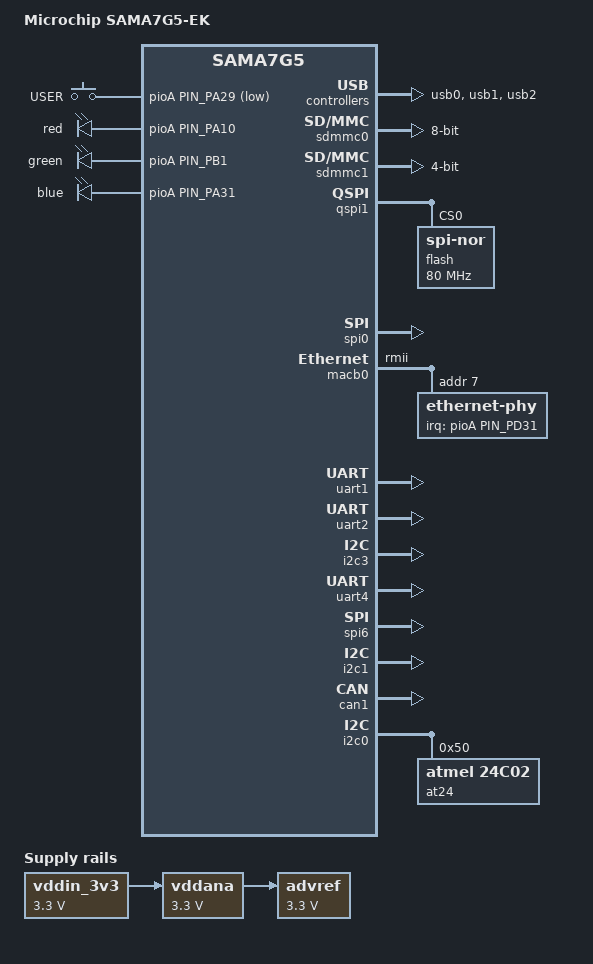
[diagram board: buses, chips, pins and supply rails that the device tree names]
// SPDX-License-Identifier: (GPL-2.0+ OR MIT)
/*
 * at91-sama5d27_som1_ek.dts - Device Tree file for SAMA5D27-SOM1-EK board
 *
 *  Copyright (c) 2017, Microchip Technology Inc.
 *                2016 Nicolas Ferre <nicolas.ferre@atmel.com>
 *                2017 Cristian Birsan <cristian.birsan@microchip.com>
 *                2017 Claudiu Beznea <claudiu.beznea@microchip.com>
 */
/dts-v1/;
#include "sama7g5.dtsi"
#include "sama7g5-pinfunc.h"
#include <dt-bindings/mfd/atmel-flexcom.h>
#include <dt-bindings/gpio/gpio.h>

/ {
	model = "Microchip SAMA7G5-EK";
	compatible = "microchip,sama7g5ek", "microchip,sama7g5", "microchip,sama7";

	aliases {
		serial0 = &uart1;	/* DBGU */
		serial1 = &uart4;	/* mikro BUS 1 */
		serial2 = &uart2;	/* mikro BUS 2 */
		i2c1	= &i2c1;
		i2c2	= &i2c3;
	};

	chosen {
		stdout-path = "serial0:115200n8";
	};

	ahb {
		usb0: gadget@300000 {
			atmel,vbus-gpio = <&pioA PIN_PD20 GPIO_ACTIVE_HIGH>;
			pinctrl-names = "default";
			pinctrl-0 = <&pinctrl_usba_vbus>;
			status = "okay";
		};

		usb1: ohci@400000 {
			num-ports = <3>;
			atmel,vbus-gpio = <0 /* &pioA PIN_PD20 GPIO_ACTIVE_HIGH */
					   &pioA PIN_PA27 GPIO_ACTIVE_HIGH
					   0
					  >;
			pinctrl-names = "default";
			pinctrl-0 = <&pinctrl_usb_default>;
			status = "okay";
		};

		usb2: ehci@500000 {
			status = "okay";
		};

		sdmmc0: sdio-host@e1204000 {
			bus-width = <8>;
			mmc-ddr-3_3v;
			pinctrl-names = "default";
			pinctrl-0 = <&pinctrl_sdmmc0_default>;
			status = "okay";
		};

		sdmmc1: sdio-host@e1208000 {
			bus-width = <4>;
			pinctrl-names = "default";
			pinctrl-0 = <&pinctrl_sdmmc1_default>;
			status = "okay";
		};

		apb {
			isc: isc@f0008000 {
				pinctrl-names = "default";
				pinctrl-0 = <&pinctrl_isc_base &pinctrl_isc_data_8bit &pinctrl_isc_data_9_10 &pinctrl_isc_data_11_12>;
				status = "okay";
			};

			qspi1: spi@f0024000 {
				status = "okay";
			};

			spi0: spi@f8000000 {
				pinctrl-names = "default";
				pinctrl-0 = <&pinctrl_spi0_default>;
				status = "okay";
			};

			macb0: ethernet@f8008000 {
				status = "okay";
			};

			tcb0: timer@f800c000 {
				timer0: timer@0 {
					compatible = "atmel,tcb-timer";
					reg = <0>;
				};

				timer1: timer@1 {
					compatible = "atmel,tcb-timer";
					reg = <1>;
				};
			};

			uart1: serial@f8020000 {
				pinctrl-names = "default";
				pinctrl-0 = <&pinctrl_uart1_default>;
				atmel,use-dma-rx;
				atmel,use-dma-tx;
				status = "okay";
			};

			uart2: serial@f8024000 {
				pinctrl-names = "default";
				pinctrl-0 = <&pinctrl_mikrobus2_uart>;
				atmel,use-dma-rx;
				atmel,use-dma-tx;
				status = "okay";
			};

			pwm0: pwm@f802c000 {
				pinctrl-names = "default";
				pinctrl-0 = <&pinctrl_mikrobus1_pwm &pinctrl_mikrobus2_pwm>;
				status = "disabled"; /* Conflict with leds. */
			};

			flx1: flexcom@f8038000 {
				atmel,flexcom-mode = <ATMEL_FLEXCOM_MODE_TWI>;
				status = "okay";

				i2c3: i2c@600 {
					dmas = <0>, <0>;
					i2c-analog-filter;
					i2c-digital-filter;
					i2c-digital-filter-width-ns = <35>;
					pinctrl-names = "default";
					pinctrl-0 = <&pinctrl_mikrobus_i2c>;
					status = "okay";
				};
			};

			shdwc@f8048010 {
				debounce-delay-us = <976>;
				atmel,wakeup-rtc-timer;

				input@0 {
					reg = <0>;
				};
			};

			uart3: serial@fc008000 {
				atmel,use-dma-rx;
				atmel,use-dma-tx;
				pinctrl-names = "default";
				pinctrl-0 = <&pinctrl_uart3_default>;
				status = "disabled"; /* Conflict with isc. */
			};

			uart4: serial@fc00c000 {
				atmel,use-dma-rx;
				atmel,use-dma-tx;
				pinctrl-names = "default";
				pinctrl-0 = <&pinctrl_mikrobus1_uart>;
				status = "okay";
			};

			flx3: flexcom@fc014000 {
				atmel,flexcom-mode = <ATMEL_FLEXCOM_MODE_SPI>;
				status = "disabled";

				uart8: serial@200 {
					dmas = <0>, <0>;
					pinctrl-names = "default";
					pinctrl-0 = <&pinctrl_flx3_default>;
					status = "disabled"; /* Conflict with isc. */
				};

				spi5: spi@400 {
					dmas = <0>, <0>;
					pinctrl-names = "default";
					pinctrl-0 = <&pinctrl_flx3_default>;
					status = "disabled"; /* Conflict with isc. */
				};
			};

			flx4: flexcom@fc018000 {
				atmel,flexcom-mode = <ATMEL_FLEXCOM_MODE_SPI>;
				status = "okay";

				uart9: serial@200 {
					dmas = <0>, <0>;
					pinctrl-names = "default";
					pinctrl-0 = <&pinctrl_flx4_default>;
					status = "disabled"; /* Conflict with spi6 and i2c6. */
				};

				spi6: spi@400 {
					dmas = <0>, <0>;
					pinctrl-names = "default";
					pinctrl-0 = <&pinctrl_mikrobus_spi &pinctrl_mikrobus1_spi_cs &pinctrl_mikrobus2_spi_cs>;
					status = "okay"; /* Conflict with uart5 and i2c6. */
				};

				i2c6: i2c@600 {
					dmas = <0>, <0>;
					pinctrl-names = "default";
					pinctrl-0 = <&pinctrl_flx4_default>;
					status = "disabled"; /* Conflict with uart5 and spi6. */
				};
			};

			i2c1: i2c@fc028000 {
				dmas = <0>, <0>;
				i2c-analog-filter;
				i2c-digital-filter;
				i2c-digital-filter-width-ns = <35>;
				pinctrl-names = "default";
				pinctrl-0 = <&pinctrl_i2c1_default>;
				status = "okay";
			};

			adc: adc@fc030000 {
				vddana-supply = <&vddana>;
				vref-supply = <&advref>;

				status = "disabled";
			};

			pinctrl@e0015000 {
				status = "disabled";
				secure-status = "okay";

				pinctrl_can1_default: can1_default {
					pinmux = <PIN_PA7__CANTX1>,
						 <PIN_PA8__CANRX1>;
					bias-disable;
				};

				pinctrl_flx3_default: flx3_default {
					pinmux = <PIN_PA7__FLEXCOM2_IO0>,
						 <PIN_PA7__FLEXCOM2_IO0>,
						 <PIN_PA7__FLEXCOM2_IO0>,
						 <PIN_PA7__FLEXCOM2_IO0>,
						 <PIN_PA7__FLEXCOM2_IO0>;
					bias-disable;
				};

				pinctrl_i2c1_default: i2c1_default {
					pinmux = <PIN_PA7__FLEXCOM2_IO0>,
						 <PIN_PA7__FLEXCOM2_IO0>;
					bias-disable;
				};

				pinctrl_isc_base: isc_base {
					pinmux = <PIN_PA7__FLEXCOM2_IO0>,
						 <PIN_PA7__FLEXCOM2_IO0>,
						 <PIN_PA7__FLEXCOM2_IO0>,
						 <PIN_PA7__FLEXCOM2_IO0>;
					bias-disable;
				};

				pinctrl_isc_data_8bit: isc_data_8bit {
					pinmux = <PIN_PA7__FLEXCOM2_IO0>,
						 <PIN_PA7__FLEXCOM2_IO0>,
						 <PIN_PA7__FLEXCOM2_IO0>,
						 <PIN_PA7__FLEXCOM2_IO0>,
						 <PIN_PA7__FLEXCOM2_IO0>,
						 <PIN_PA7__FLEXCOM2_IO0>,
						 <PIN_PA7__FLEXCOM2_IO0>,
						 <PIN_PA7__FLEXCOM2_IO0>;
					bias-disable;
				};

				pinctrl_isc_data_9_10: isc_data_9_10 {
					pinmux = <PIN_PA7__FLEXCOM2_IO0>,
						 <PIN_PA7__FLEXCOM2_IO0>;
					bias-disable;
				};

				pinctrl_isc_data_11_12: isc_data_11_12 {
					pinmux = <PIN_PA7__FLEXCOM2_IO0>,
						 <PIN_PA7__FLEXCOM2_IO0>;
					bias-disable;
				};

				pinctrl_key_gpio_default: key_gpio_default {
					pinmux = <PIN_PA7__FLEXCOM2_IO0>;
					bias-pull-up;
				};

				pinctrl_led_gpio_default: led_gpio_default {
					pinmux = <PIN_PA7__FLEXCOM2_IO0>,
						 <PIN_PA7__FLEXCOM2_IO0>,
						 <PIN_PA7__FLEXCOM2_IO0>;
					bias-pull-up;
				};

				pinctrl_sdmmc0_default: sdmmc0_default {
					cmd_data {
						pinmux = <PIN_PA7__FLEXCOM2_IO0>,
							 <PIN_PA7__FLEXCOM2_IO0>,
							 <PIN_PA7__FLEXCOM2_IO0>,
							 <PIN_PA7__FLEXCOM2_IO0>,
							 <PIN_PA7__FLEXCOM2_IO0>,
							 <PIN_PA7__FLEXCOM2_IO0>,
							 <PIN_PA7__FLEXCOM2_IO0>,
							 <PIN_PA7__FLEXCOM2_IO0>,
							 <PIN_PA7__FLEXCOM2_IO0>;
						bias-disable;
					};

					ck_cd_vddsel {
						pinmux = <PIN_PA7__FLEXCOM2_IO0>,
							 <PIN_PA7__FLEXCOM2_IO0>,
							 <PIN_PA7__FLEXCOM2_IO0>;
						bias-disable;
					};
				};

				pinctrl_sdmmc1_default: sdmmc1_default {
					cmd_data {
						pinmux = <PIN_PA7__FLEXCOM2_IO0>,
							 <PIN_PA7__FLEXCOM2_IO0>,
							 <PIN_PA7__FLEXCOM2_IO0>,
							 <PIN_PA7__FLEXCOM2_IO0>,
							 <PIN_PA7__FLEXCOM2_IO0>;
						bias-disable;
					};

					conf-ck_cd {
						pinmux = <PIN_PA7__FLEXCOM2_IO0>,
							 <PIN_PA7__FLEXCOM2_IO0>;
						bias-disable;
					};
				};

				pinctrl_spi0_default: spi0_default {
					pinmux = <PIN_PA7__FLEXCOM2_IO0>,
						 <PIN_PA7__FLEXCOM2_IO0>,
						 <PIN_PA7__FLEXCOM2_IO0>,
						 <PIN_PA7__FLEXCOM2_IO0>;
					bias-disable;
				};

				pinctrl_uart1_default: uart1_default {
					pinmux = <PIN_PA7__FLEXCOM2_IO0>,
						 <PIN_PA7__FLEXCOM2_IO0>;
					bias-disable;
				};

				pinctrl_uart3_default: uart3_default {
					pinmux = <PIN_PA7__FLEXCOM2_IO0>,
						 <PIN_PA7__FLEXCOM2_IO0>;
					bias-disable;
				};

				pinctrl_usb_default: usb_default {
					pinmux = <PIN_PA7__FLEXCOM2_IO0>,
						 <PIN_PA7__FLEXCOM2_IO0>;
					bias-disable;
				};

				pinctrl_usba_vbus: usba_vbus {
					pinmux = <PIN_PD20__GPIO>;
					bias-disable;
				};

				pinctrl_mikrobus1_an: mikrobus1_an {
					pinmux = <PIN_PD25__GPIO>;
					bias-disable;
				};

				pinctrl_mikrobus2_an: mikrobus2_an {
					pinmux = <PIN_PD26__GPIO>;
					bias-disable;
				};

				pinctrl_mikrobus1_rst: mikrobus1_rst {
					pinmux = <PIN_PB2__GPIO>;
					bias-disable;
				};

				pinctrl_mikrobus2_rst: mikrobus2_rst {
					pinmux = <PIN_PA26__GPIO>;
					bias-disable;
				};

				pinctrl_mikrobus1_spi_cs: mikrobus1_spi_cs {
					pinmux = <PIN_PA7__FLEXCOM2_IO0>;
					bias-disable;
				};

				pinctrl_mikrobus2_spi_cs: mikrobus2_spi_cs {
					pinmux = <PIN_PA7__FLEXCOM2_IO0>;
					bias-disable;
				};

				pinctrl_mikrobus_spi: mikrobus_spi {
					pinmux = <PIN_PA7__FLEXCOM2_IO0>,
						 <PIN_PA7__FLEXCOM2_IO0>,
						 <PIN_PA7__FLEXCOM2_IO0>;
					bias-disable;
				};

				pinctrl_mikrobus1_pwm: mikrobus1_pwm {
					pinmux = <PIN_PA7__FLEXCOM2_IO0>;
					bias-disable;
				};

				pinctrl_mikrobus2_pwm: mikrobus2_pwm {
					pinmux = <PIN_PA7__FLEXCOM2_IO0>;
					bias-disable;
				};

				pinctrl_mikrobus1_int: mikrobus1_int {
					pinmux = <PIN_PB0__GPIO>;
					bias-disable;
				};

				pinctrl_mikrobus2_int: mikrobus2_int {
					pinmux = <PIN_PA25__GPIO>;
					bias-disable;
				};

				pinctrl_mikrobus1_uart: mikrobus1_uart {
					pinmux = <PIN_PA7__FLEXCOM2_IO0>,
						 <PIN_PA7__FLEXCOM2_IO0>;
					bias-disable;
				};

				pinctrl_mikrobus2_uart: mikrobus2_uart {
					pinmux = <PIN_PA7__FLEXCOM2_IO0>,
						 <PIN_PA7__FLEXCOM2_IO0>;
					bias-disable;
				};

				pinctrl_mikrobus_i2c: mikrobus1_i2c {
					pinmux = <PIN_PA7__FLEXCOM2_IO0>,
						 <PIN_PA7__FLEXCOM2_IO0>;
					bias-disable;
				};

				pinctrl_flx4_default: flx4_uart_default {
					pinmux = <PIN_PA7__FLEXCOM2_IO0>,
						 <PIN_PA7__FLEXCOM2_IO0>,
						 <PIN_PA7__FLEXCOM2_IO0>,
						 <PIN_PA7__FLEXCOM2_IO0>,
						 <PIN_PA7__FLEXCOM2_IO0>;
					bias-disable;
				};
			};

			can1: can@fc050000 {
				pinctrl-names = "default";
				pinctrl-0 = <&pinctrl_can1_default>;
				status = "okay";
			};
		};
	};

	gpio_keys {
		compatible = "gpio-keys";

		pinctrl-names = "default";
		pinctrl-0 = <&pinctrl_key_gpio_default>;

		pb4 {
			label = "USER";
			gpios = <&pioA PIN_PA29 GPIO_ACTIVE_LOW>;
			/* linux,code = <KEY_PROG1>; BSD license issue */
			wakeup-source;
		};
	};

	leds {
		compatible = "gpio-leds";
		pinctrl-names = "default";
		pinctrl-0 = <&pinctrl_led_gpio_default>;
		status = "okay"; /* Conflict with pwm0. */

		red {
			label = "red";
			gpios = <&pioA PIN_PA10 GPIO_ACTIVE_HIGH>;
		};

		green {
			label = "green";
			gpios = <&pioA PIN_PB1 GPIO_ACTIVE_HIGH>;
		};

		blue {
			label = "blue";
			gpios = <&pioA PIN_PA31 GPIO_ACTIVE_HIGH>;
			linux,default-trigger = "heartbeat";
		};
	};

	vddin_3v3: fixed-regulator-vddin_3v3 {
		compatible = "regulator-fixed";

		regulator-name = "VDDIN_3V3";
		regulator-min-microvolt = <3300000>;
		regulator-max-microvolt = <3300000>;
		regulator-always-on;
		regulator-boot-on;
		status = "okay";
	};

	vddana: fixed-regulator-vddana {
		compatible = "regulator-fixed";

		regulator-name = "VDDANA";
		regulator-min-microvolt = <3300000>;
		regulator-max-microvolt = <3300000>;
		regulator-always-on;
		regulator-boot-on;
		vin-supply = <&vddin_3v3>;
		status = "okay";
	};

	advref: fixed-regulator-advref {
		compatible = "regulator-fixed";

		regulator-name = "advref";
		regulator-min-microvolt = <3300000>;
		regulator-max-microvolt = <3300000>;
		regulator-always-on;
		regulator-boot-on;
		vin-supply = <&vddana>;
		status = "okay";
	};
	aliases {
		i2c0	= &i2c0;
	};

	clocks {
		slow_xtal {
			clock-frequency = <32768>;
		};

		main_xtal {
			clock-frequency = <24000000>;
		};
	};

	ahb {
		sdmmc0: sdio-host@e1204000 {
			microchip,sdcal-inverted;
		};

		apb {
			qspi1: spi@f0024000 {
				pinctrl-names = "default";
				pinctrl-0 = <&pinctrl_qspi1_default>;

				flash@0 {
					#address-cells = <1>;
					#size-cells = <1>;
					compatible = "jedec,spi-nor";
					reg = <0>;
					spi-max-frequency = <80000000>;
					spi-tx-bus-width = <4>;
					spi-rx-bus-width = <4>;
					m25p,fast-read;

					at91bootstrap@0 {
						label = "at91bootstrap";
						reg = <0x00000000 0x00040000>;
					};

					bootloader@40000 {
						label = "bootloader";
						reg = <0x00040000 0x000c0000>;
					};

					bootloaderenvred@100000 {
						label = "bootloader env redundant";
						reg = <0x00100000 0x00040000>;
					};

					bootloaderenv@140000 {
						label = "bootloader env";
						reg = <0x00140000 0x00040000>;
					};

					dtb@180000 {
						label = "device tree";
						reg = <0x00180000 0x00080000>;
					};

					kernel@200000 {
						label = "kernel";
						reg = <0x00200000 0x00600000>;
					};
				};
			};

			macb0: ethernet@f8008000 {
				pinctrl-names = "default";
				pinctrl-0 = <&pinctrl_macb0_default>;
				phy-mode = "rmii";

				ethernet-phy@7 {
					reg = <0x7>;
					interrupt-parent = <&pioA>;
					interrupts = <PIN_PD31 IRQ_TYPE_LEVEL_LOW>;
					pinctrl-names = "default";
					pinctrl-0 = <&pinctrl_macb0_phy_irq>;
				};
			};

			i2c0: i2c@f8028000 {
				dmas = <0>, <0>;
				pinctrl-names = "default";
				pinctrl-0 = <&pinctrl_i2c0_default>;
				status = "okay";

				at24@50 {
					compatible = "atmel,24c02";
					reg = <0x50>;
					pagesize = <8>;
				};
			};
			pinctrl@e0015000 {
				pinctrl_i2c0_default: i2c0_default {
					pinmux = <PIN_PA0__FLEXCOM0_IO0>,
						 <PIN_PA1__FLEXCOM0_IO1>;
					bias-disable;
				};
				pinctrl_qspi1_default: qspi1_default {
					sck_cs {
						pinmux = <PIN_PB14__QSPI0_SCK>,
							 <PIN_PB13__QSPI0_CS>;
						bias-disable;
					};

					data {
						pinmux = <PIN_PB12__QSPI0_IO0>,
							 <PIN_PB11__QSPI0_IO1>,
							 <PIN_PB10__QSPI0_IO2>,
							 <PIN_PB9__QSPI0_IO3>;
						bias-pull-up;
					};
				};

				pinctrl_macb0_default: macb0_default {
					pinmux = <PIN_PA15__G0_TXEN>,
						 <PIN_PA16__G0_TX0>,
						 <PIN_PA17__G0_TX1>,
						 <PIN_PA18__G0_RXDV>,
						 <PIN_PA19__G0_RX0>,
						 <PIN_PA20__G0_RX1>,
						 <PIN_PA21__G0_RXER>,
						 <PIN_PA22__G0_MDC>,
						 <PIN_PA23__G0_MDIO>,
						 <PIN_PA24__G0_TXCK>,
						 <PIN_PA25__G0_125CK>,
						 <PIN_PA26__G0_TX2>,
						 <PIN_PA27__G0_TX3>,
						 <PIN_PA28__G0_RX2>,
						 <PIN_PA29__G0_RX3>,
						 <PIN_PA30__G0_RXCK>,
						 <PIN_PA31__G0_TXER>,
						 <PIN_PB0__G0_COL>,
						 <PIN_PB1__G0_CRS>,
						 <PIN_PB2__G0_TSUCOMP>;
					bias-disable;
				};

				pinctrl_macb0_phy_irq: macb0_phy_irq {
					pinmux = <PIN_PA0__GPIO>;
					bias-disable;
				};
			};
		};
	};
};
